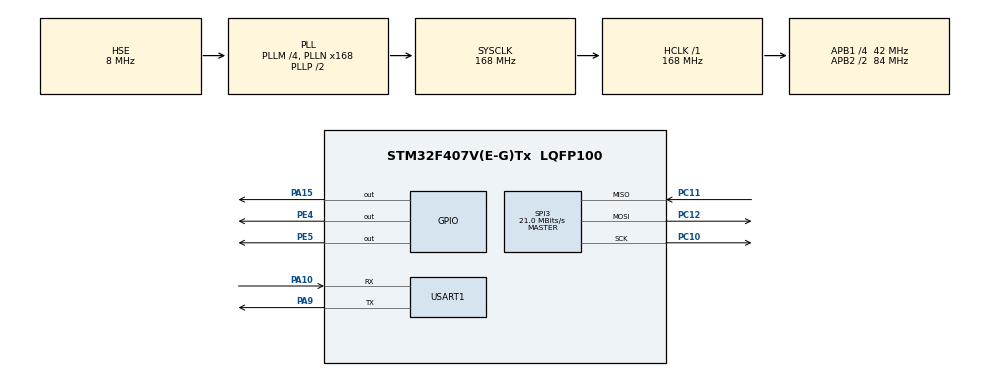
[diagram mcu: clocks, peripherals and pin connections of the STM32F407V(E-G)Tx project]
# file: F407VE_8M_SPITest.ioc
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Mcu.Family=STM32F4
Mcu.Name=STM32F407V(E-G)Tx
Mcu.Package=LQFP100
NVIC.PriorityGroup=NVIC_PRIORITYGROUP_4
NVIC.USART1_IRQn=true\:0\:0\:false\:false\:true\:true\:true
PA10.Mode=Asynchronous
PA10.Signal=USART1_RX
PA13.Mode=Serial_Wire
PA13.Signal=SYS_JTMS-SWDIO
PA14.Mode=Serial_Wire
PA14.Signal=SYS_JTCK-SWCLK
PA15.GPIO_PuPd=GPIO_PULLUP
PA15.PinState=GPIO_PIN_SET
PA15.Signal=GPIO_Output
PA9.Mode=Asynchronous
PA9.Signal=USART1_TX
PC10.GPIO_PuPd=GPIO_PULLDOWN
PC10.Mode=Full_Duplex_Master
PC10.Signal=SPI3_SCK
PC11.Mode=Full_Duplex_Master
PC11.Signal=SPI3_MISO
PC12.Mode=Full_Duplex_Master
PC12.Signal=SPI3_MOSI
PC14-OSC32_IN.Mode=LSE-External-Oscillator
PC14-OSC32_IN.Signal=RCC_OSC32_IN
PC15-OSC32_OUT.Mode=LSE-External-Oscillator
PC15-OSC32_OUT.Signal=RCC_OSC32_OUT
PE4.GPIO_ModeDefaultOutputPP=GPIO_MODE_OUTPUT_PP
PE4.GPIO_PuPd=GPIO_PULLUP
PE4.GPIO_Speed=GPIO_SPEED_FREQ_VERY_HIGH
PE4.PinState=GPIO_PIN_SET
PE4.Signal=GPIO_Output
PE5.GPIO_ModeDefaultOutputPP=GPIO_MODE_OUTPUT_PP
PE5.GPIO_PuPd=GPIO_PULLUP
PE5.GPIO_Speed=GPIO_SPEED_FREQ_VERY_HIGH
PE5.PinState=GPIO_PIN_SET
PE5.Signal=GPIO_Output
PH0-OSC_IN.Mode=HSE-External-Oscillator
PH0-OSC_IN.Signal=RCC_OSC_IN
PH1-OSC_OUT.Mode=HSE-External-Oscillator
PH1-OSC_OUT.Signal=RCC_OSC_OUT
ProjectManager.HeapSize=0x200
ProjectManager.StackSize=0x400
ProjectManager.TargetToolchain=MDK-ARM V5.27
RCC.48MHZClocksFreq_Value=84000000
RCC.AHBFreq_Value=168000000
RCC.APB1CLKDivider=RCC_HCLK_DIV4
RCC.APB1Freq_Value=42000000
RCC.APB1TimFreq_Value=84000000
RCC.APB2CLKDivider=RCC_HCLK_DIV2
RCC.APB2Freq_Value=84000000
RCC.APB2TimFreq_Value=168000000
RCC.CortexFreq_Value=168000000
RCC.HCLKFreq_Value=168000000
RCC.HSE_VALUE=8000000
RCC.HSI_VALUE=16000000
RCC.PLLM=4
RCC.PLLN=168
RCC.PLLSourceVirtual=RCC_PLLSOURCE_HSE
RCC.SYSCLKFreq_VALUE=168000000
RCC.SYSCLKSource=RCC_SYSCLKSOURCE_PLLCLK
RCC.VCOOutputFreq_Value=336000000
SPI3.CLKPhase=SPI_PHASE_2EDGE
SPI3.CalculateBaudRate=21.0 MBits/s
SPI3.DataSize=SPI_DATASIZE_16BIT
SPI3.Direction=SPI_DIRECTION_2LINES
SPI3.Mode=SPI_MODE_MASTER
SPI3.VirtualType=VM_MASTER
USART1.VirtualMode=VM_ASYNC
board=custom

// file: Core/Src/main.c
/* USER CODE BEGIN Header */
/**
  ******************************************************************************
  * @file           : main.c
  * @brief          : Main program body
  ******************************************************************************
  * @attention
  *
  * <h2><center>&copy; Copyright (c) 2021 STMicroelectronics.
  * All rights reserved.</center></h2>
  *
  * This software component is licensed by ST under BSD 3-Clause license,
  * the "License"; You may not use this file except in compliance with the
  * License. You may obtain a copy of the License at:
  *                        opensource.org/licenses/BSD-3-Clause
  *
  ******************************************************************************
  */
/* USER CODE END Header */
#include "main.h"
#include "spi.h"
#include "usart.h"
#include "gpio.h"

/* USER CODE BEGIN PV */
MyUARTHandle uart1;
uint8_t uartBuf1[100];
/* USER CODE END PV */

void SystemClock_Config(void);

int main(void)
{
  /* USER CODE BEGIN 1 */
  uint8_t str[30];
  uint32_t i, len;
  uint16_t buf[30];
  /* USER CODE END 1 */

  /* MCU Configuration--------------------------------------------------------*/

  /* Reset of all peripherals, Initializes the Flash interface and the Systick. */
  HAL_Init();

  /* Configure the system clock */
  SystemClock_Config();

  /* Initialize all configured peripherals */
  MX_GPIO_Init();
  MX_USART1_UART_Init();
  MX_SPI3_Init();
  /* USER CODE BEGIN 2 */
  Delay_Init(168);
  MyUART_Init(&uart1, USART1, uartBuf1, 100);
  MyUART_WriteLine(&uart1, "SPI test");
  LL_SPI_Enable(SPI3);
  /* USER CODE END 2 */

  /* Infinite loop */
  while (1)
  {

    /* USER CODE BEGIN 3 */
    if(MyUART_ReadUntilWithZero(&uart1, str, '>'))
    {
      if(str[0] == 'r')
      {
        len = myatoi(str + 1);
        HAL_GPIO_WritePin(GPIOA, GPIO_PIN_15, 0);
        for(i = 0; i < len; i++)
        {
          while(LL_SPI_IsActiveFlag_BSY(SPI3))
            ;
          if(LL_SPI_IsActiveFlag_RXNE(SPI3))
            buf[i] = LL_SPI_ReceiveData16(SPI3); // dummy read
          LL_SPI_TransmitData16(SPI3,0); // dummy write
          while(!LL_SPI_IsActiveFlag_RXNE(SPI3))
            ;
          buf[i] = LL_SPI_ReceiveData16(SPI3);
        }
        while(LL_SPI_IsActiveFlag_BSY(SPI3))
          ;
        HAL_GPIO_WritePin(GPIOA, GPIO_PIN_15, 1);
        MyUART_WriteLine(&uart1, "Received");
        for(i = 0; i < len; i++)
          printf("0x%x ", buf[i]);
        MyUART_WriteLine(&uart1, "");
      }
      else if(str[0] == 't')
      {
        buf[0] = myatoi(str + 1);
        HAL_GPIO_WritePin(GPIOA, GPIO_PIN_15, 0);
        LL_SPI_TransmitData16(SPI3,buf[0]);
        LL_SPI_IsActiveFlag_TXE(SPI3);
        while(!LL_SPI_IsActiveFlag_TXE(SPI3))
          ;
        while(LL_SPI_IsActiveFlag_BSY(SPI3))
          ;
        HAL_GPIO_WritePin(GPIOA, GPIO_PIN_15, 1);
        MyUART_WriteLine(&uart1, "Sended");
      }
    }
    Delay_ms(100);
  }
  /* USER CODE END 3 */
}

void SystemClock_Config(void)
{
  RCC_OscInitTypeDef RCC_OscInitStruct = {0};
  RCC_ClkInitTypeDef RCC_ClkInitStruct = {0};

  /** Configure the main internal regulator output voltage
  */
  __HAL_RCC_PWR_CLK_ENABLE();
  __HAL_PWR_VOLTAGESCALING_CONFIG(PWR_REGULATOR_VOLTAGE_SCALE1);
  /** Initializes the RCC Oscillators according to the specified parameters
  * in the RCC_OscInitTypeDef structure.
  */
  RCC_OscInitStruct.OscillatorType = RCC_OSCILLATORTYPE_HSE;
  RCC_OscInitStruct.HSEState = RCC_HSE_ON;
  RCC_OscInitStruct.PLL.PLLState = RCC_PLL_ON;
  RCC_OscInitStruct.PLL.PLLSource = RCC_PLLSOURCE_HSE;
  RCC_OscInitStruct.PLL.PLLM = 4;
  RCC_OscInitStruct.PLL.PLLN = 168;
  RCC_OscInitStruct.PLL.PLLP = RCC_PLLP_DIV2;
  RCC_OscInitStruct.PLL.PLLQ = 4;
  if (HAL_RCC_OscConfig(&RCC_OscInitStruct) != HAL_OK)
  {
    Error_Handler();
  }
  /** Initializes the CPU, AHB and APB buses clocks
  */
  RCC_ClkInitStruct.ClockType = RCC_CLOCKTYPE_HCLK|RCC_CLOCKTYPE_SYSCLK
                              |RCC_CLOCKTYPE_PCLK1|RCC_CLOCKTYPE_PCLK2;
  RCC_ClkInitStruct.SYSCLKSource = RCC_SYSCLKSOURCE_PLLCLK;
  RCC_ClkInitStruct.AHBCLKDivider = RCC_SYSCLK_DIV1;
  RCC_ClkInitStruct.APB1CLKDivider = RCC_HCLK_DIV4;
  RCC_ClkInitStruct.APB2CLKDivider = RCC_HCLK_DIV2;

  if (HAL_RCC_ClockConfig(&RCC_ClkInitStruct, FLASH_LATENCY_5) != HAL_OK)
  {
    Error_Handler();
  }
}

void Error_Handler(void)
{
  __disable_irq();
  while (1)
  {
  }
}

/************************ (C) COPYRIGHT STMicroelectronics *****END OF FILE****/
